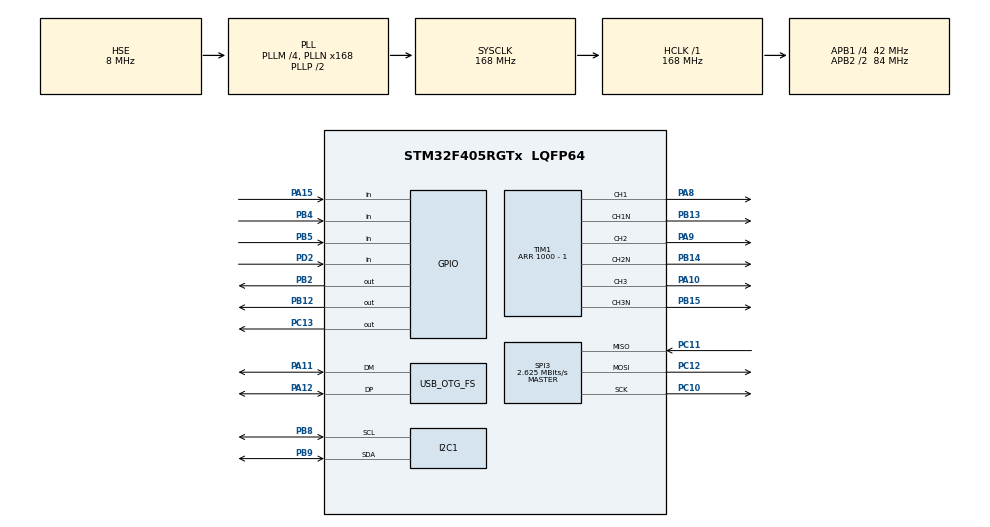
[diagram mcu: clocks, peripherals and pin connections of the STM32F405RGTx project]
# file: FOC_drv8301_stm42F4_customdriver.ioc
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Dma.Request0=SPI3_RX
Dma.Request1=SPI3_TX
Dma.SPI3_RX.0.Direction=DMA_PERIPH_TO_MEMORY
Dma.SPI3_RX.0.FIFOMode=DMA_FIFOMODE_DISABLE
Dma.SPI3_RX.0.Instance=DMA1_Stream0
Dma.SPI3_RX.0.MemDataAlignment=DMA_MDATAALIGN_HALFWORD
Dma.SPI3_RX.0.MemInc=DMA_MINC_ENABLE
Dma.SPI3_RX.0.Mode=DMA_NORMAL
Dma.SPI3_RX.0.PeriphDataAlignment=DMA_PDATAALIGN_HALFWORD
Dma.SPI3_RX.0.PeriphInc=DMA_PINC_DISABLE
Dma.SPI3_RX.0.Priority=DMA_PRIORITY_MEDIUM
Dma.SPI3_TX.1.Direction=DMA_MEMORY_TO_PERIPH
Dma.SPI3_TX.1.FIFOMode=DMA_FIFOMODE_DISABLE
Dma.SPI3_TX.1.Instance=DMA1_Stream5
Dma.SPI3_TX.1.MemDataAlignment=DMA_MDATAALIGN_HALFWORD
Dma.SPI3_TX.1.MemInc=DMA_MINC_ENABLE
Dma.SPI3_TX.1.Mode=DMA_NORMAL
Dma.SPI3_TX.1.PeriphDataAlignment=DMA_PDATAALIGN_HALFWORD
Dma.SPI3_TX.1.PeriphInc=DMA_PINC_DISABLE
Dma.SPI3_TX.1.Priority=DMA_PRIORITY_MEDIUM
Mcu.Family=STM32F4
Mcu.Name=STM32F405RGTx
Mcu.Package=LQFP64
NVIC.DMA1_Stream0_IRQn=true\:0\:0\:false\:false\:true\:false\:true\:true
NVIC.DMA1_Stream5_IRQn=true\:0\:0\:false\:false\:true\:false\:true\:true
NVIC.OTG_FS_IRQn=true\:0\:0\:false\:false\:true\:true\:true\:true
NVIC.PriorityGroup=NVIC_PRIORITYGROUP_4
NVIC.SPI3_IRQn=true\:0\:0\:false\:false\:true\:true\:true\:true
NVIC.TIM1_UP_TIM10_IRQn=true\:0\:0\:false\:false\:true\:true\:true\:true
NVIC.TIM8_TRG_COM_TIM14_IRQn=true\:15\:0\:false\:false\:true\:false\:true\:true
NVIC.TimeBase=TIM8_TRG_COM_TIM14_IRQn
NVIC.TimeBaseIP=TIM14
PA10.Signal=S_TIM1_CH3
PA11.Mode=Device_Only
PA11.Signal=USB_OTG_FS_DM
PA12.Mode=Device_Only
PA12.Signal=USB_OTG_FS_DP
PA13.Mode=Serial_Wire
PA13.Signal=SYS_JTMS-SWDIO
PA14.Mode=Serial_Wire
PA14.Signal=SYS_JTCK-SWCLK
PA15.Signal=GPIO_Input
PA8.Signal=S_TIM1_CH1
PA9.Signal=S_TIM1_CH2
PB12.Signal=GPIO_Output
PB13.Mode=PWM Generation1 CH1 CH1N
PB13.Signal=TIM1_CH1N
PB14.Mode=PWM Generation2 CH2 CH2N
PB14.Signal=TIM1_CH2N
PB15.Mode=PWM Generation3 CH3 CH3N
PB15.Signal=TIM1_CH3N
PB2.Signal=GPIO_Output
PB4.Signal=GPIO_Input
PB5.Signal=GPIO_Input
PB8.Mode=I2C
PB8.Signal=I2C1_SCL
PB9.Mode=I2C
PB9.Signal=I2C1_SDA
PC10.Mode=Full_Duplex_Master
PC10.Signal=SPI3_SCK
PC11.Mode=Full_Duplex_Master
PC11.Signal=SPI3_MISO
PC12.Mode=Full_Duplex_Master
PC12.Signal=SPI3_MOSI
PC13-ANTI_TAMP.Signal=GPIO_Output
PD2.GPIO_PuPd=GPIO_PULLUP
PD2.Signal=GPIO_Input
PH0-OSC_IN.Mode=HSE-External-Oscillator
PH0-OSC_IN.Signal=RCC_OSC_IN
PH1-OSC_OUT.Mode=HSE-External-Oscillator
PH1-OSC_OUT.Signal=RCC_OSC_OUT
ProjectManager.HeapSize=0x200
ProjectManager.StackSize=0x400
ProjectManager.TargetToolchain=Makefile
RCC.48MHZClocksFreq_Value=48000000
RCC.AHBFreq_Value=168000000
RCC.APB1CLKDivider=RCC_HCLK_DIV4
RCC.APB1Freq_Value=42000000
RCC.APB1TimFreq_Value=84000000
RCC.APB2CLKDivider=RCC_HCLK_DIV2
RCC.APB2Freq_Value=84000000
RCC.APB2TimFreq_Value=168000000
RCC.CortexFreq_Value=168000000
RCC.HCLKFreq_Value=168000000
RCC.HSE_VALUE=8000000
RCC.HSI_VALUE=16000000
RCC.LSE_VALUE=32768
RCC.PLLM=4
RCC.PLLN=168
RCC.PLLQ=7
RCC.SYSCLKFreq_VALUE=168000000
RCC.SYSCLKSource=RCC_SYSCLKSOURCE_PLLCLK
RCC.VCOOutputFreq_Value=336000000
SH.S_TIM1_CH1.0=TIM1_CH1,PWM Generation1 CH1 CH1N
SH.S_TIM1_CH2.0=TIM1_CH2,PWM Generation2 CH2 CH2N
SH.S_TIM1_CH3.0=TIM1_CH3,PWM Generation3 CH3 CH3N
SPI3.BaudRatePrescaler=SPI_BAUDRATEPRESCALER_16
SPI3.CLKPhase=SPI_PHASE_2EDGE
SPI3.CLKPolarity=SPI_POLARITY_LOW
SPI3.CalculateBaudRate=2.625 MBits/s
SPI3.DataSize=SPI_DATASIZE_16BIT
SPI3.Direction=SPI_DIRECTION_2LINES
SPI3.Mode=SPI_MODE_MASTER
SPI3.VirtualNSS=VM_NSSHARD
SPI3.VirtualType=VM_MASTER
TIM1.AutoReloadPreload=TIM_AUTORELOAD_PRELOAD_ENABLE
TIM1.AutomaticOutput=TIM_AUTOMATICOUTPUT_DISABLE
TIM1.BreakPolarity=TIM_BREAKPOLARITY_HIGH
TIM1.BreakState=TIM_BREAK_DISABLE
TIM1.Channel-PWM\ Generation1\ CH1\ CH1N=TIM_CHANNEL_1
TIM1.Channel-PWM\ Generation2\ CH2\ CH2N=TIM_CHANNEL_2
TIM1.Channel-PWM\ Generation3\ CH3\ CH3N=TIM_CHANNEL_3
TIM1.CounterMode=TIM_COUNTERMODE_CENTERALIGNED3
TIM1.DeadTime=150
TIM1.OCMode_PWM-PWM\ Generation1\ CH1\ CH1N=TIM_OCMODE_PWM2
TIM1.OCMode_PWM-PWM\ Generation2\ CH2\ CH2N=TIM_OCMODE_PWM2
TIM1.OCMode_PWM-PWM\ Generation3\ CH3\ CH3N=TIM_OCMODE_PWM2
TIM1.OffStateIDLEMode=TIM_OSSI_ENABLE
TIM1.OffStateRunMode=TIM_OSSR_ENABLE
TIM1.Period=1000 - 1
TIM1.Pulse-PWM\ Generation1\ CH1\ CH1N=0
TIM1.Pulse-PWM\ Generation2\ CH2\ CH2N=0
TIM1.Pulse-PWM\ Generation3\ CH3\ CH3N=0
TIM1.TIM_MasterOutputTrigger=TIM_TRGO_UPDATE
USB_DEVICE.APP_RX_DATA_SIZE-CDC_FS=64
USB_DEVICE.APP_TX_DATA_SIZE-CDC_FS=64
USB_DEVICE.CLASS_NAME_FS=CDC
USB_DEVICE.PID_CDC_FS=0x0D32
USB_DEVICE.VID-CDC_FS=0x1209
USB_DEVICE.VirtualMode-CDC_FS=Cdc
USB_DEVICE.VirtualModeFS=Cdc_FS
USB_OTG_FS.VirtualMode=Device_Only
VP_SYS_VS_tim14.Mode=TIM14
VP_TIM1_VS_ClockSourceINT.Mode=Internal
VP_USB_DEVICE_VS_USB_DEVICE_CDC_FS.Mode=CDC_FS
board=custom

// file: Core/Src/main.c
/* USER CODE BEGIN Header */
/**
 ******************************************************************************
 * @file           : main.c
 * @brief          : Main program body
 ******************************************************************************
 * @attention
 *
 * Copyright (c) 2025 STMicroelectronics.
 * All rights reserved.
 *
 * This software is licensed under terms that can be found in the LICENSE file
 * in the root directory of this software component.
 * If no LICENSE file comes with this software, it is provided AS-IS.
 *
 ******************************************************************************
 */
/* USER CODE END Header */
#include "main.h"
#include "usb_device.h"

/* USER CODE BEGIN Includes */
#include <string.h>
#include <stdarg.h>      // <-- BẮT BUỘC cho va_start / va_end
#include "usbd_cdc_if.h" // <-- BẮT BUỘC cho CDC_Transmit_FS
#include "command.h"
#define CDC_LOG_BUF_SIZE 256
#include "math.h"
#include "drv8301.h"
#include <stdio.h>
#include <math.h>
#include "svpwm.h"
#include "as5600.h"
#include <ctype.h>
/* USER CODE END Includes */

/* USER CODE BEGIN PTD */
#define DC_BUS_VOLTAGE 12.0f
#define PWM_ARR 100
#define OPENLOOP_VOLTAGE 4.11f // V (bắt đầu nhỏ, 2–4V)
#define OPENLOOP_SPEED 10.0f   // rad/s điện
#define TWO_PI 6.283185307f
#define M_PI TWO_PI / 2.0f
/* motor params */
#define POLE_PAIRS 7         // ví dụ, bạn sửa theo motor
#define CTRL_FREQ_HZ 1000.0f // loop tốc độ 1 kHz
#define DT_CTRL (1.0f / CTRL_FREQ_HZ)

/* encoder */
float mech_angle = 0.0f; // rad
float mech_angle_prev = 0.0f;
float mech_speed = 0.0f; // rad/s

/* electrical */
float elec_offset = 0.0f; // rad
float elec_angle = 0.0f;

/* speed control */
float speed_ref = 50.0f; // rad/s
float Uq = 0.0f;

/* limit */
#define UQ_MAX 6.0f // V, tùy bus

/* USER CODE END PTD */

I2C_HandleTypeDef hi2c1;

SPI_HandleTypeDef hspi3;
DMA_HandleTypeDef hdma_spi3_rx;
DMA_HandleTypeDef hdma_spi3_tx;

TIM_HandleTypeDef htim1;

/* USER CODE BEGIN PV */
#define LED_PIN GPIO_PIN_2
#define LED_PORT GPIOB
#define EN_PIN GPIO_PIN_12
#define EN_PORT GPIOB

#define FAULT_PIN GPIO_PIN_12
#define FAULT_PORT GPIOD

/* ===== HALL GPIO ===== */
#define HALL_A_PORT GPIOB
#define HALL_A_PIN GPIO_PIN_4

#define HALL_B_PORT GPIOB
#define HALL_B_PIN GPIO_PIN_5

#define HALL_C_PORT GPIOA
#define HALL_C_PIN GPIO_PIN_15
#define DEG2RAD(x) ((x) * M_PI / 180.0f)
/* điện áp calib – vừa đủ kéo rotor */
#define CALIB_VOLTAGE 1.0f  // chỉnh theo motor
#define CALIB_DELAY_MS 2000 // thời gian chờ rotor ổn định
/* thử các giá trị: 30, 60, 90, 120, 150 */
static float hall_angle_offset = DEG2RAD(90.0f);

/* USER CODE END PV */

void SystemClock_Config(void);
static void MX_GPIO_Init(void);
static void MX_DMA_Init(void);
static void MX_TIM1_Init(void);
static void MX_SPI3_Init(void);
static void MX_I2C1_Init(void);
/* USER CODE BEGIN PFP */
//================= Khai báo các đối tượng ======================
DRV8301_HandleTypeDef hdrv8301;
DRV8301_HandleTypeDef hdrv8301 =
    {
        .hspi = &hspi3,

        .CS_Port = GPIOC,
        .CS_Pin = GPIO_PIN_13,

        .EN_Port = GPIOB,
        .EN_Pin = GPIO_PIN_12 // ví dụ
};
DRV8301_Config_t drv_cfg =
    {
        .pwm_mode = DRV8301_PWM_6X,
        .oc_mode = DRV8301_OC_REPORT_ONLY,
        .csa_gain = DRV8301_GAIN_10};
SVPWM_Handle_t hsvpwm =
    {
        .pwm_period = PWM_ARR,
        .Udc = 12.0f};
AS5600_Handle_t as5600;
CmdParsed_t cmd;
void HAL_SPI_TxRxCpltCallback(SPI_HandleTypeDef *hspi)
{
  /* Prevent unused argument(s) compilation warning */
  UNUSED(hspi);
  if (hspi == &hspi3)
  {
    DRV8301_TxRxCpltCallback(&hdrv8301);
  }
}
/* USER CODE END PFP */

/* USER CODE BEGIN 0 */
//===================== Khai báo các biến ===================
extern uint8_t cdc_rx_buf[64];
extern volatile uint8_t cdc_rx_len;
extern volatile uint8_t cdc_rx_flag;
long cnt = 0;
static uint32_t last_tick = 0;
uint32_t last_time = 0;
/* Hall ABC -> sector (0..5) */
static const int8_t hall_to_sector[8] =
    {
        -1, // 000 invalid
        0,  // 001
        4,  // 010
        5,  // 011
        2,  // 100
        1,  // 101
        3,  // 110
        -1  // 111 invalid
};
/* Góc giữa mỗi sector 60° */
static const float sector_angle[12] =
    {
        0.0f,                // 0
        M_PI / 6.0f,         // 30
        M_PI / 3.0f,         // 60
        M_PI / 2.0f,         // 90
        2.0f * M_PI / 3.0f,  // 120
        5.0f * M_PI / 6.0f,  // 150
        M_PI,                // 180
        7.0f * M_PI / 6.0f,  // 210
        4.0f * M_PI / 3.0f,  // 240
        3.0f * M_PI / 2.0f,  // 270
        5.0f * M_PI / 3.0f,  // 300
        11.0f * M_PI / 6.0f, // 330
};
float hall_voltage = 7.8f; // điện áp điều khiển
static inline uint8_t Hall_ReadABC(void)
{
  uint8_t a = HAL_GPIO_ReadPin(HALL_A_PORT, HALL_A_PIN) ? 1 : 0;
  uint8_t b = HAL_GPIO_ReadPin(HALL_B_PORT, HALL_B_PIN) ? 1 : 0;
  uint8_t c = HAL_GPIO_ReadPin(HALL_C_PORT, HALL_C_PIN) ? 1 : 0;

  return (a << 2) | (b << 1) | c;
}
uint8_t hall = 0;
float angle = 0.0;
uint8_t buffer[64];
void CDC_Log(const char *fmt, ...)
{
  static char buf[CDC_LOG_BUF_SIZE];
  int len = 0;

  /* Prefix */
  len += snprintf(buf + len, CDC_LOG_BUF_SIZE - len, "LOG, ");

  /* Format nội dung */
  va_list args;
  va_start(args, fmt);
  len += vsnprintf(buf + len, CDC_LOG_BUF_SIZE - len, fmt, args);
  va_end(args);

  /* Kết thúc dòng */
  len += snprintf(buf + len, CDC_LOG_BUF_SIZE - len, "\r\n");

  /* Gửi qua USB CDC */
  if (len > 0)
  {
    CDC_Transmit_FS((uint8_t *)buf, len);
  }
}
void Motor_Hall_SVPWM_Run(void)
{
  hall = Hall_ReadABC();
  int8_t sector = hall_to_sector[hall];

  if (sector < 0)
  {
    /* Hall lỗi (000 hoặc 111) → tắt PWM cho an toàn */
    __HAL_TIM_SET_COMPARE(&htim1, TIM_CHANNEL_1, 0);
    __HAL_TIM_SET_COMPARE(&htim1, TIM_CHANNEL_2, 0);
    __HAL_TIM_SET_COMPARE(&htim1, TIM_CHANNEL_3, 0);
    return;
  }

  /* Góc điện trung tâm sector */
  angle = sector_angle[sector];
  /* wrap về 0..2π */
  if (angle >= 2.0f * M_PI)
    angle -= 2.0f * M_PI;
  /* Vector điện áp */
  float Ualpha = hall_voltage * cosf(angle);
  float Ubeta = hall_voltage * sinf(angle);

  /* SVPWM */
  float dutyA, dutyB, dutyC;
  SVPWM_Compute(&hsvpwm, Ualpha, Ubeta, &dutyA, &dutyB, &dutyC);

  /* Xuất PWM */
  __HAL_TIM_SET_COMPARE(&htim1, TIM_CHANNEL_1, dutyA * hsvpwm.pwm_period);
  __HAL_TIM_SET_COMPARE(&htim1, TIM_CHANNEL_2, dutyB * hsvpwm.pwm_period);
  __HAL_TIM_SET_COMPARE(&htim1, TIM_CHANNEL_3, dutyC * hsvpwm.pwm_period);
  CDC_Log("a=%.2f, b=%.2f,c=%.2f", dutyA / 3.0f, dutyB / 3.0f, dutyC / 3.0f);
}

void Motor_OpenLoop_SVPWM_Run(void)
{
  uint32_t now = HAL_GetTick();
  float dt = (now - last_tick) * 0.001f; // ms → s
  last_tick = now;

  /* 1. cập nhật góc điện */
  elec_angle += OPENLOOP_SPEED * dt;
  if (elec_angle > TWO_PI)
    elec_angle -= TWO_PI;

  /* 2. tạo vector điện áp */
  float Ualpha = OPENLOOP_VOLTAGE * cosf(elec_angle);
  float Ubeta = OPENLOOP_VOLTAGE * sinf(elec_angle);

  /* 3. SVPWM */
  float dutyA, dutyB, dutyC;
  SVPWM_Compute(&hsvpwm, Ualpha, Ubeta, &dutyA, &dutyB, &dutyC);

  /* 4. xuất PWM */
  __HAL_TIM_SET_COMPARE(&htim1, TIM_CHANNEL_1, dutyA * hsvpwm.pwm_period);
  __HAL_TIM_SET_COMPARE(&htim1, TIM_CHANNEL_2, dutyB * hsvpwm.pwm_period);
  __HAL_TIM_SET_COMPARE(&htim1, TIM_CHANNEL_3, dutyC * hsvpwm.pwm_period);
  CDC_Log("a=%.2f, b=%.2f,c=%.2f", dutyA / 3.0f, dutyB / 3.0f, dutyC / 3.0f);
}
static void Motor_Lock_ElectricalAngle(float angle)
{
  float Ualpha = CALIB_VOLTAGE * cosf(angle);
  float Ubeta = CALIB_VOLTAGE * sinf(angle);

  float dutyA, dutyB, dutyC;
  SVPWM_Compute(&hsvpwm, Ualpha, Ubeta, &dutyA, &dutyB, &dutyC);

  __HAL_TIM_SET_COMPARE(&htim1, TIM_CHANNEL_1, dutyA * hsvpwm.pwm_period);
  __HAL_TIM_SET_COMPARE(&htim1, TIM_CHANNEL_2, dutyB * hsvpwm.pwm_period);
  __HAL_TIM_SET_COMPARE(&htim1, TIM_CHANNEL_3, dutyC * hsvpwm.pwm_period);
}
float Motor_Calib_HallOffset(void)
{
  uint8_t hall;
  int8_t sector;
  float offset;

  CDC_Log("HALL CALIB START");

  /* 1. Khóa rotor tại góc điện 0° */
  Motor_Lock_ElectricalAngle(0.0f);
  HAL_Delay(CALIB_DELAY_MS);

  /* 2. Đọc Hall */
  hall = Hall_ReadABC();
  sector = hall_to_sector[hall];

  if (sector < 0)
  {
    CDC_Log("HALL CALIB FAIL, hall=%d", hall);
    return 0.0f;
  }

  /* 3. Tính offset:
   * Ta muốn angle + offset = center của sector
   * center = sector * 60° + 30°
   */
  offset = (sector * (M_PI / 3.0f)) + (M_PI / 6.0f);

  /* 4. Wrap về 0..2π */
  if (offset >= TWO_PI)
    offset -= TWO_PI;

  CDC_Log("HALL CALIB OK, hall=%d sector=%d offset=%.1f deg",
          hall,
          sector,
          offset * 180.0f / M_PI);

  return offset;
}
float Encoder_GetAngleRad(void)
{
  return AS5600_GetAngleRad(&as5600); // 0..2PI
}

float Encoder_GetSpeedRad(void)
{
  float dtheta;

  mech_angle = Encoder_GetAngleRad();
  dtheta = mech_angle - mech_angle_prev;

  /* unwrap */
  if (dtheta > M_PI)
    dtheta -= 2.0f * M_PI;
  if (dtheta < -M_PI)
    dtheta += 2.0f * M_PI;

  mech_speed = dtheta / DT_CTRL;
  mech_angle_prev = mech_angle;

  return mech_speed;
}
#define CALIB_VOLTAGE 5.0f
#define CALIB_DELAY_MS 500
typedef struct
{
  float kp, ki;
  float integral;
} PID_t;

PID_t pid_speed = {
    .kp = 0.02f,
    .ki = 0.5f,
    .integral = 0.0f};

float PID_Speed_Run(PID_t *pid, float ref, float fb)
{
  float err = ref - fb;

  pid->integral += err * DT_CTRL;

  float out = pid->kp * err + pid->ki * pid->integral;

  /* clamp */
  if (out > UQ_MAX)
    out = UQ_MAX;
  if (out < -UQ_MAX)
    out = -UQ_MAX;

  return out;
}
void Motor_SpeedControl_Loop(void)
{
  /* 1. speed feedback */
  float speed_fb = Encoder_GetSpeedRad();

  /* 2. PID */
  Uq = PID_Speed_Run(&pid_speed, speed_ref, speed_fb);

  /* 3. electrical angle */
  elec_angle = POLE_PAIRS * mech_angle + elec_offset;

  if (elec_angle > 2.0f * M_PI)
    elec_angle -= 2.0f * M_PI;

  /* 4. SVPWM (Id = 0) */
  float Ualpha = -Uq * sinf(elec_angle);
  float Ubeta = Uq * cosf(elec_angle);

  float dA, dB, dC;
  SVPWM_Compute(&hsvpwm, Ualpha, Ubeta, &dA, &dB, &dC);

  __HAL_TIM_SET_COMPARE(&htim1, TIM_CHANNEL_1, dA * hsvpwm.pwm_period);
  __HAL_TIM_SET_COMPARE(&htim1, TIM_CHANNEL_2, dB * hsvpwm.pwm_period);
  __HAL_TIM_SET_COMPARE(&htim1, TIM_CHANNEL_3, dC * hsvpwm.pwm_period);
}

void Motor_Calib_EncoderOffset(void)
{
  float mech;

  CDC_Log("ENCODER CALIB START");

  /* 1. khóa rotor tại góc điện 0 */
  float Ualpha = CALIB_VOLTAGE;
  float Ubeta = 0.0f;

  float dA, dB, dC;
  SVPWM_Compute(&hsvpwm, Ualpha, Ubeta, &dA, &dB, &dC);

  __HAL_TIM_SET_COMPARE(&htim1, TIM_CHANNEL_1, dA * hsvpwm.pwm_period);
  __HAL_TIM_SET_COMPARE(&htim1, TIM_CHANNEL_2, dB * hsvpwm.pwm_period);
  __HAL_TIM_SET_COMPARE(&htim1, TIM_CHANNEL_3, dC * hsvpwm.pwm_period);

  HAL_Delay(CALIB_DELAY_MS);

  /* 2. đọc góc cơ */
  mech = Encoder_GetAngleRad();

  /* 3. tính offset */
  elec_offset = -POLE_PAIRS * mech;

  /* wrap */
  while (elec_offset < 0)
    elec_offset += 2.0f * M_PI;
  while (elec_offset > 2.0f * M_PI)
    elec_offset -= 2.0f * M_PI;

  CDC_Log("ENC CALIB DONE, offset = %.2f deg",
          elec_offset * 180.0f / M_PI);
}
#define CALIB_VOLTAGE 1.8f                 // nhỏ, không giật mạnh
#define CALIB_ANGLE (2.0f * M_PI / 180.0f) // ±20° điện
#define CALIB_DELAY_MS 5

void Motor_Calib_EncoderOffset_Bidir(void)
{
  float mech_fwd, mech_rev;
  float angle = 0;

  CDC_Log("ENC CALIB BIDIR START");
  /* --- BƯỚC 1: QUAY TIẾN --- */
  while (angle <= M_PI * 8)
  {
    angle += CALIB_ANGLE;
    float Ualpha = CALIB_VOLTAGE * cosf(angle);
    float Ubeta = CALIB_VOLTAGE * sinf(angle);

    float dA, dB, dC;
    SVPWM_Compute(&hsvpwm, Ualpha, Ubeta, &dA, &dB, &dC);

    __HAL_TIM_SET_COMPARE(&htim1, TIM_CHANNEL_1, dA * hsvpwm.pwm_period);
    __HAL_TIM_SET_COMPARE(&htim1, TIM_CHANNEL_2, dB * hsvpwm.pwm_period);
    __HAL_TIM_SET_COMPARE(&htim1, TIM_CHANNEL_3, dC * hsvpwm.pwm_period);

    HAL_Delay(CALIB_DELAY_MS);
    mech_fwd = Encoder_GetAngleRad();
  }
  HAL_Delay(500);
  while (angle > 0.0f)
  {
    angle -= CALIB_ANGLE;
    float Ualpha = CALIB_VOLTAGE * cosf(angle);
    float Ubeta = CALIB_VOLTAGE * sinf(angle);

    float dA, dB, dC;
    SVPWM_Compute(&hsvpwm, Ualpha, Ubeta, &dA, &dB, &dC);

    __HAL_TIM_SET_COMPARE(&htim1, TIM_CHANNEL_1, dA * hsvpwm.pwm_period);
    __HAL_TIM_SET_COMPARE(&htim1, TIM_CHANNEL_2, dB * hsvpwm.pwm_period);
    __HAL_TIM_SET_COMPARE(&htim1, TIM_CHANNEL_3, dC * hsvpwm.pwm_period);

    HAL_Delay(CALIB_DELAY_MS);
    mech_rev = Encoder_GetAngleRad();
  }
  // tính góc 0
  float mech_avg = 0.5f * (mech_fwd + mech_rev);
  elec_offset = -POLE_PAIRS * mech_avg;
  while (elec_offset < 0)
    elec_offset += 2.0f * M_PI;
  while (elec_offset >= 2.0f * M_PI)
    elec_offset -= 2.0f * M_PI;
  CDC_Log("elec_0 = %.2f", elec_offset);
  DRV8301_DisableGate(&hdrv8301);
}
float target = 0.0;
void Motor_Velocity_OpenLoop_Encoder(float Uq_open)
{
  /* 1. đọc góc cơ */
  float theta_mech = Encoder_GetAngleRad();

  /* 2. tính góc điện */
  float theta_elec = POLE_PAIRS * theta_mech + elec_offset;

  /* wrap */
  while (theta_elec >= 2.0f * M_PI)
    theta_elec -= 2.0f * M_PI;
  while (theta_elec < 0)
    theta_elec += 2.0f * M_PI;

  /* 3. điện áp q-axis cố định */
  float Ualpha = -Uq_open * sinf(theta_elec);
  float Ubeta = Uq_open * cosf(theta_elec);

  /* 4. SVPWM */
  float dA, dB, dC;
  SVPWM_Compute(&hsvpwm, Ualpha, Ubeta, &dA, &dB, &dC);

  __HAL_TIM_SET_COMPARE(&htim1, TIM_CHANNEL_1, dA * hsvpwm.pwm_period);
  __HAL_TIM_SET_COMPARE(&htim1, TIM_CHANNEL_2, dB * hsvpwm.pwm_period);
  __HAL_TIM_SET_COMPARE(&htim1, TIM_CHANNEL_3, dC * hsvpwm.pwm_period);
  if (HAL_GetTick() - last_time > 30)
  {
    last_time = HAL_GetTick();
    CDC_Log("Ua=%f,Ub=%f,da=%f,db=%f,dc=%f", Ualpha, Ubeta, dA, dB, dC);
  }

  // HAL_Delay(1);
}
void print(char *c)
{

  CDC_Transmit_FS((uint8_t *)c, 20);
}

int parse_float_dot(const char *s, float *out)
{
  int sign = 1;
  int ipart = 0;
  int dpart = 0;
  float dscale = 1.0f;
  int has_digit = 0;

  /* skip space */
  while (*s == ' ' || *s == '\r' || *s == '\n')
    s++;

  /* sign */
  if (*s == '-')
  {
    sign = -1;
    s++;
  }
  else if (*s == '+')
  {
    s++;
  }

  /* integer part */
  while (isdigit((unsigned char)*s))
  {
    ipart = ipart * 10 + (*s - '0');
    has_digit = 1;
    s++;
  }

  /* decimal part */
  if (*s == '.')
  {
    s++;
    while (isdigit((unsigned char)*s))
    {
      dpart = dpart * 10 + (*s - '0');
      dscale *= 0.1f;
      has_digit = 1;
      s++;
    }
  }

  if (!has_digit)
    return 0; // parse fail

  *out = sign * (ipart + dpart * dscale);
  return 1; // parse OK
}
// float angle = 0.0;
/* USER CODE END 0 */

int main(void)
{

  /* MCU Configuration--------------------------------------------------------*/

  /* Reset of all peripherals, Initializes the Flash interface and the Systick. */
  HAL_Init();

  /* Configure the system clock */
  SystemClock_Config();

  /* Initialize all configured peripherals */
  MX_GPIO_Init();
  MX_DMA_Init();
  MX_TIM1_Init();
  MX_SPI3_Init();
  MX_USB_DEVICE_Init();
  MX_I2C1_Init();
  /* USER CODE BEGIN 2 */
  __HAL_TIM_SET_COMPARE(&htim1, TIM_CHANNEL_1, 0);
  __HAL_TIM_SET_COMPARE(&htim1, TIM_CHANNEL_2, 0);
  __HAL_TIM_SET_COMPARE(&htim1, TIM_CHANNEL_3, 0);

  HAL_TIM_PWM_Start(&htim1, TIM_CHANNEL_1);
  HAL_TIM_PWM_Start(&htim1, TIM_CHANNEL_2);
  HAL_TIM_PWM_Start(&htim1, TIM_CHANNEL_3);

  HAL_TIMEx_PWMN_Start(&htim1, TIM_CHANNEL_1);
  HAL_TIMEx_PWMN_Start(&htim1, TIM_CHANNEL_2);
  HAL_TIMEx_PWMN_Start(&htim1, TIM_CHANNEL_3);
  __HAL_TIM_MOE_ENABLE(&htim1);

  DRV8301_EnableGate(&hdrv8301);
  HAL_Delay(1);
  SVPWM_Init(&hsvpwm, 12.0f, 1000);
  AS5600_Init(&as5600, &hi2c1);
  // HAL_Delay(5000);
  // elec_offset = 3.16;
  // Motor_Calib_EncoderOffset_Bidir();

  /* USER CODE END 2 */

  /* Infinite loop */
  /* USER CODE BEGIN WHILE */
  while (1)
  {
    angle = AS5600_GetAngleDeg(&as5600);
    CDC_Log("angle = %.2f", AS5600_GetAngleDeg(&as5600));
    if (cdc_rx_flag)
    {
      cdc_rx_flag = 0;
      cdc_rx_buf[cdc_rx_len] = 0;
      if (Command_Parse((char *)cdc_rx_buf, &cmd))
      {
        CDC_Log("CMD=%s KEY=%s VAL=%.3f",
                cmd.cmd,
                cmd.has_key ? cmd.key : "-",
                cmd.has_value ? cmd.value : 0.0f);

        if (strcmp(cmd.cmd, "CALIB") == 0)
        {
          Motor_Calib_EncoderOffset_Bidir();
        }
        else if (strcmp(cmd.cmd, "SET") == 0 && cmd.has_key)
        {
          if (strcmp(cmd.key, "UQ") == 0 && cmd.has_value)
            target = cmd.value;
          else if (strcmp(cmd.key, "SPEED") == 0 && cmd.has_value)
            speed_ref = cmd.value;
        }
        else if (strcmp(cmd.cmd, "EN") == 0)
        {
          DRV8301_EnableGate(&hdrv8301);
        }
        else if (strcmp(cmd.cmd, "DIS") == 0)
        {
          DRV8301_DisableGate(&hdrv8301);
        }
      }
    }
    // Motor_Velocity_OpenLoop_Encoder(target);

    /* USER CODE END WHILE */

  }
}

void SystemClock_Config(void)
{
  RCC_OscInitTypeDef RCC_OscInitStruct = {0};
  RCC_ClkInitTypeDef RCC_ClkInitStruct = {0};

  /** Configure the main internal regulator output voltage
   */
  __HAL_RCC_PWR_CLK_ENABLE();
  __HAL_PWR_VOLTAGESCALING_CONFIG(PWR_REGULATOR_VOLTAGE_SCALE1);

  /** Initializes the RCC Oscillators according to the specified parameters
   * in the RCC_OscInitTypeDef structure.
   */
  RCC_OscInitStruct.OscillatorType = RCC_OSCILLATORTYPE_HSE;
  RCC_OscInitStruct.HSEState = RCC_HSE_ON;
  RCC_OscInitStruct.PLL.PLLState = RCC_PLL_ON;
  RCC_OscInitStruct.PLL.PLLSource = RCC_PLLSOURCE_HSE;
  RCC_OscInitStruct.PLL.PLLM = 4;
  RCC_OscInitStruct.PLL.PLLN = 168;
  RCC_OscInitStruct.PLL.PLLP = RCC_PLLP_DIV2;
  RCC_OscInitStruct.PLL.PLLQ = 7;
  if (HAL_RCC_OscConfig(&RCC_OscInitStruct) != HAL_OK)
  {
    Error_Handler();
  }

  /** Initializes the CPU, AHB and APB buses clocks
   */
  RCC_ClkInitStruct.ClockType = RCC_CLOCKTYPE_HCLK | RCC_CLOCKTYPE_SYSCLK | RCC_CLOCKTYPE_PCLK1 | RCC_CLOCKTYPE_PCLK2;
  RCC_ClkInitStruct.SYSCLKSource = RCC_SYSCLKSOURCE_PLLCLK;
  RCC_ClkInitStruct.AHBCLKDivider = RCC_SYSCLK_DIV1;
  RCC_ClkInitStruct.APB1CLKDivider = RCC_HCLK_DIV4;
  RCC_ClkInitStruct.APB2CLKDivider = RCC_HCLK_DIV2;

  if (HAL_RCC_ClockConfig(&RCC_ClkInitStruct, FLASH_LATENCY_5) != HAL_OK)
  {
    Error_Handler();
  }
}

static void MX_I2C1_Init(void)
{

  hi2c1.Instance = I2C1;
  hi2c1.Init.ClockSpeed = 100000;
  hi2c1.Init.DutyCycle = I2C_DUTYCYCLE_2;
  hi2c1.Init.OwnAddress1 = 0;
  hi2c1.Init.AddressingMode = I2C_ADDRESSINGMODE_7BIT;
  hi2c1.Init.DualAddressMode = I2C_DUALADDRESS_DISABLE;
  hi2c1.Init.OwnAddress2 = 0;
  hi2c1.Init.GeneralCallMode = I2C_GENERALCALL_DISABLE;
  hi2c1.Init.NoStretchMode = I2C_NOSTRETCH_DISABLE;
  if (HAL_I2C_Init(&hi2c1) != HAL_OK)
  {
    Error_Handler();
  }
}

static void MX_SPI3_Init(void)
{

  /* SPI3 parameter configuration*/
  hspi3.Instance = SPI3;
  hspi3.Init.Mode = SPI_MODE_MASTER;
  hspi3.Init.Direction = SPI_DIRECTION_2LINES;
  hspi3.Init.DataSize = SPI_DATASIZE_16BIT;
  hspi3.Init.CLKPolarity = SPI_POLARITY_LOW;
  hspi3.Init.CLKPhase = SPI_PHASE_2EDGE;
  hspi3.Init.NSS = SPI_NSS_SOFT;
  hspi3.Init.BaudRatePrescaler = SPI_BAUDRATEPRESCALER_16;
  hspi3.Init.FirstBit = SPI_FIRSTBIT_MSB;
  hspi3.Init.TIMode = SPI_TIMODE_DISABLE;
  hspi3.Init.CRCCalculation = SPI_CRCCALCULATION_DISABLE;
  hspi3.Init.CRCPolynomial = 10;
  if (HAL_SPI_Init(&hspi3) != HAL_OK)
  {
    Error_Handler();
  }
}

static void MX_TIM1_Init(void)
{

  TIM_ClockConfigTypeDef sClockSourceConfig = {0};
  TIM_MasterConfigTypeDef sMasterConfig = {0};
  TIM_OC_InitTypeDef sConfigOC = {0};
  TIM_BreakDeadTimeConfigTypeDef sBreakDeadTimeConfig = {0};

  htim1.Instance = TIM1;
  htim1.Init.Prescaler = 1;
  htim1.Init.CounterMode = TIM_COUNTERMODE_CENTERALIGNED3;
  htim1.Init.Period = 1000 - 1;
  htim1.Init.ClockDivision = TIM_CLOCKDIVISION_DIV1;
  htim1.Init.RepetitionCounter = 0;
  htim1.Init.AutoReloadPreload = TIM_AUTORELOAD_PRELOAD_ENABLE;
  if (HAL_TIM_Base_Init(&htim1) != HAL_OK)
  {
    Error_Handler();
  }
  sClockSourceConfig.ClockSource = TIM_CLOCKSOURCE_INTERNAL;
  if (HAL_TIM_ConfigClockSource(&htim1, &sClockSourceConfig) != HAL_OK)
  {
    Error_Handler();
  }
  if (HAL_TIM_PWM_Init(&htim1) != HAL_OK)
  {
    Error_Handler();
  }
  sMasterConfig.MasterOutputTrigger = TIM_TRGO_UPDATE;
  sMasterConfig.MasterSlaveMode = TIM_MASTERSLAVEMODE_DISABLE;
  if (HAL_TIMEx_MasterConfigSynchronization(&htim1, &sMasterConfig) != HAL_OK)
  {
    Error_Handler();
  }
  sConfigOC.OCMode = TIM_OCMODE_PWM2;
  sConfigOC.Pulse = 0;
  sConfigOC.OCPolarity = TIM_OCPOLARITY_HIGH;
  sConfigOC.OCNPolarity = TIM_OCNPOLARITY_HIGH;
  sConfigOC.OCFastMode = TIM_OCFAST_DISABLE;
  sConfigOC.OCIdleState = TIM_OCIDLESTATE_RESET;
  sConfigOC.OCNIdleState = TIM_OCNIDLESTATE_RESET;
  if (HAL_TIM_PWM_ConfigChannel(&htim1, &sConfigOC, TIM_CHANNEL_1) != HAL_OK)
  {
    Error_Handler();
  }
  if (HAL_TIM_PWM_ConfigChannel(&htim1, &sConfigOC, TIM_CHANNEL_2) != HAL_OK)
  {
    Error_Handler();
  }
  if (HAL_TIM_PWM_ConfigChannel(&htim1, &sConfigOC, TIM_CHANNEL_3) != HAL_OK)
  {
    Error_Handler();
  }
  sBreakDeadTimeConfig.OffStateRunMode = TIM_OSSR_ENABLE;
  sBreakDeadTimeConfig.OffStateIDLEMode = TIM_OSSI_ENABLE;
  sBreakDeadTimeConfig.LockLevel = TIM_LOCKLEVEL_OFF;
  sBreakDeadTimeConfig.DeadTime = 150;
  sBreakDeadTimeConfig.BreakState = TIM_BREAK_DISABLE;
  sBreakDeadTimeConfig.BreakPolarity = TIM_BREAKPOLARITY_HIGH;
  sBreakDeadTimeConfig.AutomaticOutput = TIM_AUTOMATICOUTPUT_DISABLE;
  if (HAL_TIMEx_ConfigBreakDeadTime(&htim1, &sBreakDeadTimeConfig) != HAL_OK)
  {
    Error_Handler();
  }
  HAL_TIM_MspPostInit(&htim1);
}

static void MX_DMA_Init(void)
{

  /* DMA controller clock enable */
  __HAL_RCC_DMA1_CLK_ENABLE();

  /* DMA interrupt init */
  /* DMA1_Stream0_IRQn interrupt configuration */
  HAL_NVIC_SetPriority(DMA1_Stream0_IRQn, 0, 0);
  HAL_NVIC_EnableIRQ(DMA1_Stream0_IRQn);
  /* DMA1_Stream5_IRQn interrupt configuration */
  HAL_NVIC_SetPriority(DMA1_Stream5_IRQn, 0, 0);
  HAL_NVIC_EnableIRQ(DMA1_Stream5_IRQn);
}

static void MX_GPIO_Init(void)
{
  GPIO_InitTypeDef GPIO_InitStruct = {0};

  /* GPIO Ports Clock Enable */
  __HAL_RCC_GPIOC_CLK_ENABLE();
  __HAL_RCC_GPIOH_CLK_ENABLE();
  __HAL_RCC_GPIOB_CLK_ENABLE();
  __HAL_RCC_GPIOA_CLK_ENABLE();
  __HAL_RCC_GPIOD_CLK_ENABLE();

  /*Configure GPIO pin Output Level */
  HAL_GPIO_WritePin(GPIOC, GPIO_PIN_13, GPIO_PIN_RESET);

  /*Configure GPIO pin Output Level */
  HAL_GPIO_WritePin(GPIOB, GPIO_PIN_2 | GPIO_PIN_12, GPIO_PIN_RESET);

  /*Configure GPIO pin : PC13 */
  GPIO_InitStruct.Pin = GPIO_PIN_13;
  GPIO_InitStruct.Mode = GPIO_MODE_OUTPUT_PP;
  GPIO_InitStruct.Pull = GPIO_NOPULL;
  GPIO_InitStruct.Speed = GPIO_SPEED_FREQ_LOW;
  HAL_GPIO_Init(GPIOC, &GPIO_InitStruct);

  /*Configure GPIO pins : PB2 PB12 */
  GPIO_InitStruct.Pin = GPIO_PIN_2 | GPIO_PIN_12;
  GPIO_InitStruct.Mode = GPIO_MODE_OUTPUT_PP;
  GPIO_InitStruct.Pull = GPIO_NOPULL;
  GPIO_InitStruct.Speed = GPIO_SPEED_FREQ_LOW;
  HAL_GPIO_Init(GPIOB, &GPIO_InitStruct);

  /*Configure GPIO pin : PA15 */
  GPIO_InitStruct.Pin = GPIO_PIN_15;
  GPIO_InitStruct.Mode = GPIO_MODE_INPUT;
  GPIO_InitStruct.Pull = GPIO_NOPULL;
  HAL_GPIO_Init(GPIOA, &GPIO_InitStruct);

  /*Configure GPIO pin : PD2 */
  GPIO_InitStruct.Pin = GPIO_PIN_2;
  GPIO_InitStruct.Mode = GPIO_MODE_INPUT;
  GPIO_InitStruct.Pull = GPIO_PULLUP;
  HAL_GPIO_Init(GPIOD, &GPIO_InitStruct);

  /*Configure GPIO pins : PB4 PB5 */
  GPIO_InitStruct.Pin = GPIO_PIN_4 | GPIO_PIN_5;
  GPIO_InitStruct.Mode = GPIO_MODE_INPUT;
  GPIO_InitStruct.Pull = GPIO_NOPULL;
  HAL_GPIO_Init(GPIOB, &GPIO_InitStruct);

}

void HAL_TIM_PeriodElapsedCallback(TIM_HandleTypeDef *htim)
{
  if (htim->Instance == TIM14)
  {
    HAL_IncTick();
  }
}

void Error_Handler(void)
{
  __disable_irq();
  while (1)
  {
  }
}
